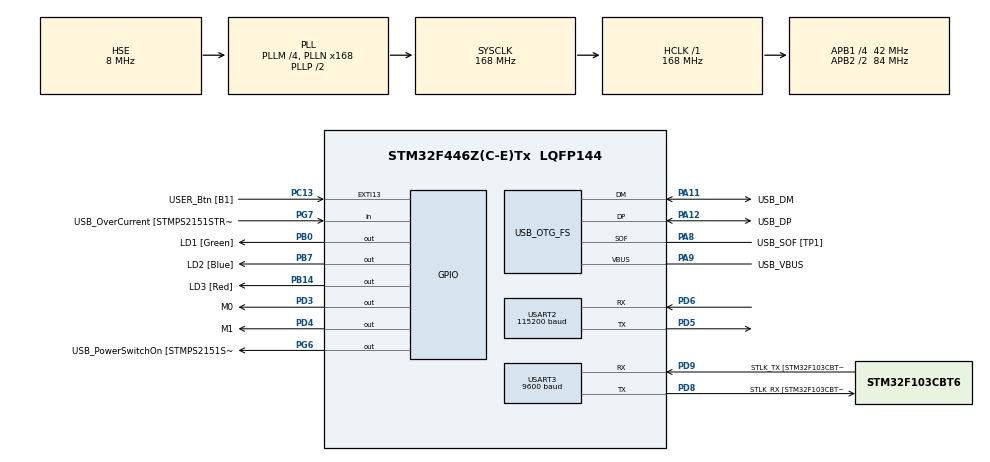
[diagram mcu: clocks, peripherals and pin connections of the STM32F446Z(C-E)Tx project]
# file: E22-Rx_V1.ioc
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Dma.Request0=USART2_RX
Dma.Request1=USART2_TX
Dma.USART2_RX.0.Direction=DMA_PERIPH_TO_MEMORY
Dma.USART2_RX.0.FIFOMode=DMA_FIFOMODE_DISABLE
Dma.USART2_RX.0.Instance=DMA1_Stream5
Dma.USART2_RX.0.MemDataAlignment=DMA_MDATAALIGN_BYTE
Dma.USART2_RX.0.MemInc=DMA_MINC_ENABLE
Dma.USART2_RX.0.Mode=DMA_NORMAL
Dma.USART2_RX.0.PeriphDataAlignment=DMA_PDATAALIGN_BYTE
Dma.USART2_RX.0.PeriphInc=DMA_PINC_DISABLE
Dma.USART2_RX.0.Priority=DMA_PRIORITY_LOW
Dma.USART2_TX.1.Direction=DMA_MEMORY_TO_PERIPH
Dma.USART2_TX.1.FIFOMode=DMA_FIFOMODE_DISABLE
Dma.USART2_TX.1.Instance=DMA1_Stream6
Dma.USART2_TX.1.MemDataAlignment=DMA_MDATAALIGN_BYTE
Dma.USART2_TX.1.MemInc=DMA_MINC_ENABLE
Dma.USART2_TX.1.Mode=DMA_NORMAL
Dma.USART2_TX.1.PeriphDataAlignment=DMA_PDATAALIGN_BYTE
Dma.USART2_TX.1.PeriphInc=DMA_PINC_DISABLE
Dma.USART2_TX.1.Priority=DMA_PRIORITY_LOW
Mcu.Family=STM32F4
Mcu.Name=STM32F446Z(C-E)Tx
Mcu.Package=LQFP144
NVIC.DMA1_Stream5_IRQn=true\:0\:0\:false\:false\:true\:false\:true\:true
NVIC.DMA1_Stream6_IRQn=true\:0\:0\:false\:false\:true\:false\:true\:true
NVIC.PriorityGroup=NVIC_PRIORITYGROUP_4
NVIC.USART2_IRQn=true\:0\:0\:false\:false\:true\:true\:true\:true
PA10.GPIO_Label=USB_ID
PA10.Signal=USB_OTG_FS_ID
PA11.GPIO_Label=USB_DM
PA11.Mode=Device_Only
PA11.Signal=USB_OTG_FS_DM
PA12.GPIO_Label=USB_DP
PA12.Mode=Device_Only
PA12.Signal=USB_OTG_FS_DP
PA13.GPIO_Label=TMS
PA13.Mode=Serial_Wire
PA13.Signal=SYS_JTMS-SWDIO
PA14.GPIO_Label=TCK
PA14.Mode=Serial_Wire
PA14.Signal=SYS_JTCK-SWCLK
PA8.GPIO_Label=USB_SOF [TP1]
PA8.Mode=Activate_SOF_FS
PA8.Signal=USB_OTG_FS_SOF
PA9.GPIO_Label=USB_VBUS
PA9.Mode=Activate_VBUS
PA9.Signal=USB_OTG_FS_VBUS
PB0.GPIO_Label=LD1 [Green]
PB0.Signal=GPIO_Output
PB14.GPIO_Label=LD3 [Red]
PB14.Signal=GPIO_Output
PB7.GPIO_Label=LD2 [Blue]
PB7.Signal=GPIO_Output
PC13.GPIO_Label=USER_Btn [B1]
PC13.Signal=GPXTI13
PC14-OSC32_IN.Mode=LSE-External-Oscillator
PC14-OSC32_IN.Signal=RCC_OSC32_IN
PC15-OSC32_OUT.Mode=LSE-External-Oscillator
PC15-OSC32_OUT.Signal=RCC_OSC32_OUT
PD3.GPIO_Label=M0
PD3.Signal=GPIO_Output
PD4.GPIO_Label=M1
PD4.Signal=GPIO_Output
PD5.Mode=Asynchronous
PD5.Signal=USART2_TX
PD6.Mode=Asynchronous
PD6.Signal=USART2_RX
PD8.GPIO_Label=STLK_RX [STM32F103CBT6_PA3]
PD8.Mode=Asynchronous
PD8.Signal=USART3_TX
PD9.GPIO_Label=STLK_TX [STM32F103CBT6_PA2]
PD9.Mode=Asynchronous
PD9.Signal=USART3_RX
PG6.GPIO_Label=USB_PowerSwitchOn [STMPS2151STR_EN]
PG6.Signal=GPIO_Output
PG7.GPIO_Label=USB_OverCurrent [STMPS2151STR_FAULT]
PG7.Signal=GPIO_Input
PH0-OSC_IN.GPIO_Label=MCO [STM32F103CBT6_PA8]
PH0-OSC_IN.Mode=HSE-External-Clock-Source
PH0-OSC_IN.Signal=RCC_OSC_IN
PH1-OSC_OUT.Mode=HSE-External-Clock-Source
PH1-OSC_OUT.Signal=RCC_OSC_OUT
ProjectManager.HeapSize=0x200
ProjectManager.StackSize=0x400
ProjectManager.TargetToolchain=STM32CubeIDE
RCC.48MHZClocksFreq_Value=24000000
RCC.AHBFreq_Value=168000000
RCC.APB1CLKDivider=RCC_HCLK_DIV4
RCC.APB1Freq_Value=42000000
RCC.APB1TimFreq_Value=84000000
RCC.APB2CLKDivider=RCC_HCLK_DIV2
RCC.APB2Freq_Value=84000000
RCC.APB2TimFreq_Value=168000000
RCC.CortexFreq_Value=168000000
RCC.HCLKFreq_Value=168000000
RCC.HSE_VALUE=8000000
RCC.HSI_VALUE=16000000
RCC.PLLM=4
RCC.PLLMUL=RCC_PLL_MUL9
RCC.PLLN=168
RCC.PLLQ=7
RCC.PRESCALERUSB=RCC_USBCLKSOURCE_PLL_DIV1_5
RCC.SYSCLKFreq_VALUE=168000000
RCC.SYSCLKSource=RCC_SYSCLKSOURCE_PLLCLK
RCC.SYSCLKSourceVirtual=RCC_SYSCLKSOURCE_PLLCLK
RCC.USBFreq_Value=48000000
RCC.VCOOutputFreq_Value=336000000
USART2.BaudRate=115200
USART2.VirtualMode=VM_ASYNC
USART3.BaudRate=9600
USART3.VirtualMode=VM_ASYNC
USB_OTG_FS.VirtualMode=Device_Only
VP_RTC_VS_RTC_Activate.Mode=RTC_Enabled
board=NUCLEO-F446ZE

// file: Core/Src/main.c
/* USER CODE BEGIN Header */
/**
  ******************************************************************************
  * @file           : main.c
  * @brief          : Main program body
  ******************************************************************************
  * @attention
  *
  * Copyright (c) 2025 STMicroelectronics.
  * All rights reserved.
  *
  * This software is licensed under terms that can be found in the LICENSE file
  * in the root directory of this software component.
  * If no LICENSE file comes with this software, it is provided AS-IS.
  *
  ******************************************************************************
  */
/* USER CODE END Header */
#include "main.h"
#include "dma.h"
#include "rtc.h"
#include "usart.h"
#include "usb_otg.h"
#include "gpio.h"

/* USER CODE BEGIN Includes */
#include "e22900t22d.h"
#include <stdio.h>
#include <string.h>
/* USER CODE END Includes */

/* USER CODE BEGIN PTD */
int _write(int file, char *ptr, int len) {
	for (int idx = 0; idx < len; idx++) {
			while(!(USART3 -> SR & USART_SR_TXE));
			USART3->DR = (uint8_t)ptr[idx];
	}
	return len;
}

RTC_TimeTypeDef sTime;
RTC_DateTypeDef sDate;

void get_timestamp_string(char *timestamp_str, uint32_t max_len)
{
  // Get current time and date from RTC
  HAL_RTC_GetTime(&hrtc, &sTime, RTC_FORMAT_BIN);
  HAL_RTC_GetDate(&hrtc, &sDate, RTC_FORMAT_BIN); // This is necessary after HAL_RTC_GetTime

  // Format the timestamp string as "YYYY-MM-DD HH:MM:SS"
  snprintf(timestamp_str, max_len, "%02d:%02d:%02d",
           sTime.Hours, sTime.Minutes, sTime.Seconds);
}
/* USER CODE END PTD */

void SystemClock_Config(void);
/* USER CODE BEGIN PFP */
static void main_e22_transceiverMode(void);
static void main_e22_configurationMode(void);
static void main_lora_packet_receive(uint8_t* dataPacket, uint8_t size);

/* USER CODE END PFP */

int main(void)
{

  /* MCU Configuration--------------------------------------------------------*/

  /* Reset of all peripherals, Initializes the Flash interface and the Systick. */
  HAL_Init();

  /* Configure the system clock */
  SystemClock_Config();

  /* Initialize all configured peripherals */
  MX_GPIO_Init();
  MX_DMA_Init();
  MX_USART3_UART_Init();
  MX_USB_OTG_FS_PCD_Init();
  MX_USART2_UART_Init();
  MX_RTC_Init();
  /* USER CODE BEGIN 2 */
  printf("--- LoRa Receiver Initialized ---\r\n");

  e22_lora_init(&huart2,
                  HAL_UART_Transmit_DMA,
                  HAL_UARTEx_ReceiveToIdle_DMA,
                  main_lora_packet_receive,
                  main_e22_configurationMode,
                  main_e22_transceiverMode);
  printf("Listening for packets...\r\n");

  char packet_to_send[60];
  sprintf(packet_to_send, "Ready!");
  uint8_t packetSize = strlen(packet_to_send);

  printf("Sending: \"%s\"... ", packet_to_send);
  e22_lora_transnit((uint8_t*)packet_to_send, packetSize, 0x01, 0x12);

  /* USER CODE END 2 */

  /* Infinite loop */
  while (1)
  {

    /* USER CODE BEGIN 3 */
	  e22_lora_manager();
	  	  HAL_Delay(50);
  }
  /* USER CODE END 3 */
}

void SystemClock_Config(void)
{
  RCC_OscInitTypeDef RCC_OscInitStruct = {0};
  RCC_ClkInitTypeDef RCC_ClkInitStruct = {0};

  /** Configure the main internal regulator output voltage
  */
  __HAL_RCC_PWR_CLK_ENABLE();
  __HAL_PWR_VOLTAGESCALING_CONFIG(PWR_REGULATOR_VOLTAGE_SCALE1);

  /** Initializes the RCC Oscillators according to the specified parameters
  * in the RCC_OscInitTypeDef structure.
  */
  RCC_OscInitStruct.OscillatorType = RCC_OSCILLATORTYPE_LSI|RCC_OSCILLATORTYPE_HSE;
  RCC_OscInitStruct.HSEState = RCC_HSE_BYPASS;
  RCC_OscInitStruct.LSEState = RCC_LSE_ON;
  RCC_OscInitStruct.LSIState = RCC_LSI_ON;
  RCC_OscInitStruct.PLL.PLLState = RCC_PLL_ON;
  RCC_OscInitStruct.PLL.PLLSource = RCC_PLLSOURCE_HSE;
  RCC_OscInitStruct.PLL.PLLM = 4;
  RCC_OscInitStruct.PLL.PLLN = 168;
  RCC_OscInitStruct.PLL.PLLP = RCC_PLLP_DIV2;
  RCC_OscInitStruct.PLL.PLLQ = 7;
  RCC_OscInitStruct.PLL.PLLR = 2;
  if (HAL_RCC_OscConfig(&RCC_OscInitStruct) != HAL_OK)
  {
    Error_Handler();
  }

  /** Initializes the CPU, AHB and APB buses clocks
  */
  RCC_ClkInitStruct.ClockType = RCC_CLOCKTYPE_HCLK|RCC_CLOCKTYPE_SYSCLK
                              |RCC_CLOCKTYPE_PCLK1|RCC_CLOCKTYPE_PCLK2;
  RCC_ClkInitStruct.SYSCLKSource = RCC_SYSCLKSOURCE_PLLCLK;
  RCC_ClkInitStruct.AHBCLKDivider = RCC_SYSCLK_DIV1;
  RCC_ClkInitStruct.APB1CLKDivider = RCC_HCLK_DIV4;
  RCC_ClkInitStruct.APB2CLKDivider = RCC_HCLK_DIV2;

  if (HAL_RCC_ClockConfig(&RCC_ClkInitStruct, FLASH_LATENCY_5) != HAL_OK)
  {
    Error_Handler();
  }
}

/* USER CODE BEGIN 4 */
void HAL_UART_TxCpltCallback(UART_HandleTypeDef *huart)
{
    if(huart->Instance == USART2)
    {
        printf("ACK Sent!\r\n");
        e22_lora_make_ready();
    }
}

void HAL_UARTEx_RxEventCallback(UART_HandleTypeDef *huart, uint16_t Size)
{
    if(huart->Instance == USART2)
    {
        e22_lora_reception_complete(Size);
    }
}

static void main_lora_packet_receive(uint8_t* dataPacket, uint8_t size)
{
		uint8_t message_size = size - 1;
		uint8_t rssi_raw = dataPacket[message_size];
		int8_t rssi_dbm = -(256 - rssi_raw);

		uint8_t loraPacket[MAX_DATA_PACKET_SIZE + 1] = {0};

//		memcpy(loraPacket, dataPacket, size);
		memcpy(loraPacket, dataPacket, message_size);

//		loraPacket[size] = '\0';
		loraPacket[message_size] = '\0';

		char timestamp[24];
		get_timestamp_string(timestamp, sizeof(timestamp));

//		printf("PACKET RECEIVED: \"%s\" at %s\r\n", loraPacket, timestamp);
		printf("PACKET RECEIVED: \"%s\" (Size: %d, RSSI: %d dBm) at %s\r\n", loraPacket, message_size, rssi_dbm, timestamp);

		char ack_msg[] = "ACK";
		e22_lora_transnit((uint8_t*)ack_msg, strlen(ack_msg), 0x01, 0x12);
}
static void main_e22_transceiverMode(void)
{
	HAL_GPIO_WritePin(GPIOB, M0_Pin|M1_Pin, GPIO_PIN_RESET);
}
static void main_e22_configurationMode(void)
{
	HAL_GPIO_WritePin(GPIOB, M0_Pin, GPIO_PIN_RESET);
	HAL_GPIO_WritePin(GPIOB, M1_Pin, GPIO_PIN_SET);
}
/* USER CODE END 4 */

void Error_Handler(void)
{
  __disable_irq();
  while (1)
  {
  }
}
